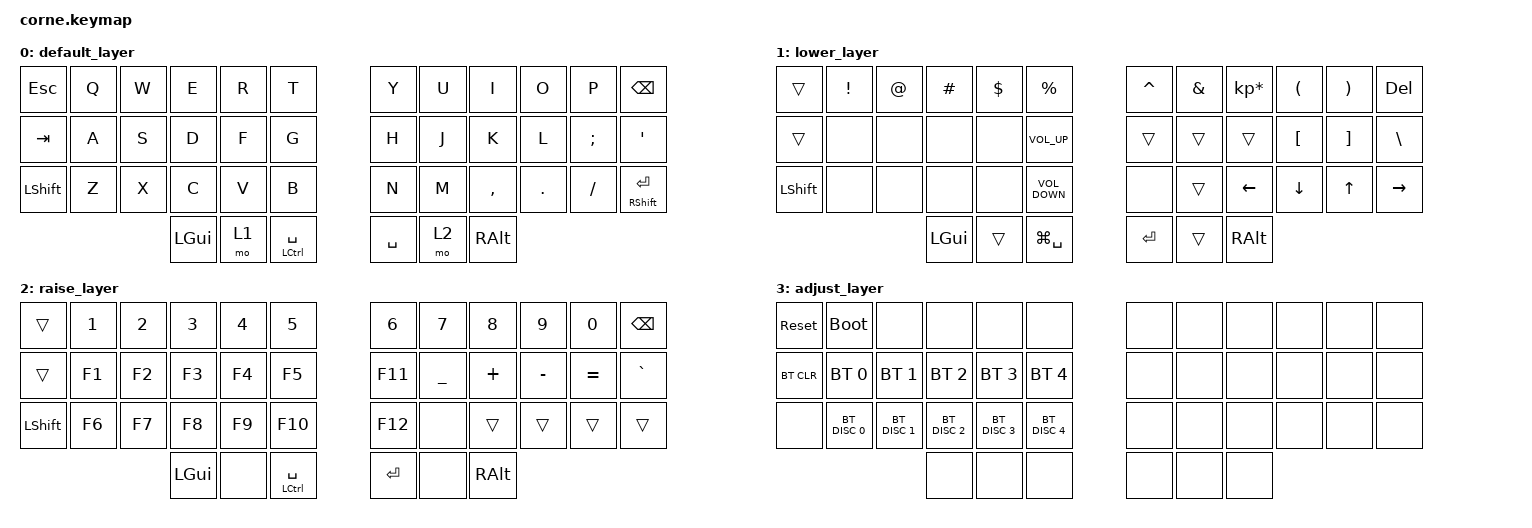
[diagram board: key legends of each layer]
/*
 * Copyright (c) 2020 The ZMK Contributors
 *
 * SPDX-License-Identifier: MIT
 */

#include <behaviors.dtsi>
#include <dt-bindings/zmk/bt.h>
#include <dt-bindings/zmk/keys.h>

&led_strip { chain-length = <27>; };

/ {
    combos {
        compatible = "zmk,combos";

        MACSTOP {
            bindings = <&kp LC(LG(Q))>;
            key-positions = <0 24>;
        };
    };

    keymap {
        compatible = "zmk,keymap";

        default_layer {
            // -----------------------------------------------------------------------------------------
            // |  TAB |  Q  |  W  |  E  |  R  |  T  |   |  Y  |  U   |  I  |  O  |  P  | BKSP |
            // | CTRL |  A  |  S  |  D  |  F  |  G  |   |  H  |  J   |  K  |  L  |  ;  |  '   |
            // | SHFT |  Z  |  X  |  C  |  V  |  B  |   |  N  |  M   |  ,  |  .  |  /  | ESC  |
            //                    | GUI | LWR | SPC |   | ENT | RSE  | ALT |

            bindings = <
&kp ESC    &kp Q  &kp W  &kp E     &kp R  &kp T              &kp Y      &kp U  &kp I          &kp O    &kp P     &kp BSPC
&kp TAB    &kp A  &kp S  &kp D     &kp F  &kp G              &kp H      &kp J  &kp K          &kp L    &kp SEMI  &kp SQT
&kp LSHFT  &kp Z  &kp X  &kp C     &kp V  &kp B              &kp N      &kp M  &kp COMMA      &kp DOT  &kp FSLH  &mt RIGHT_SHIFT ENTER
                         &kp LGUI  &mo 1  &mt LCTRL SPACE    &kp SPACE  &mo 2  &kp RIGHT_ALT
            >;
        };

        lower_layer {
            // -----------------------------------------------------------------------------------------
            // |  TAB |  1  |  2  |  3  |  4  |  5  |   |  6  |  7  |  8  |  9  |  0  | BKSP |
            // | BTCLR| BT1 | BT2 | BT3 | BT4 | BT5 |   | LFT | DWN |  UP | RGT |     |      |
            // | SHFT |     |     |     |     |     |   |     |     |     |     |     |      |
            //                    | GUI |     | SPC |   | ENT |     | ALT |

            bindings = <
&trans     &kp EXCL  &kp AT  &kp HASH  &kp DLLR  &kp PRCNT            &kp CARET  &kp AMPS  &kp KP_MULTIPLY  &kp LPAR          &kp RPAR           &kp DELETE
&trans     &none     &none   &none     &none     &kp C_VOLUME_UP      &trans     &trans    &trans           &kp LEFT_BRACKET  &kp RIGHT_BRACKET  &kp BACKSLASH
&kp LSHFT  &none     &none   &none     &none     &kp C_VOLUME_DOWN    &none      &trans    &kp LEFT         &kp DOWN          &kp UP_ARROW       &kp RIGHT
                             &kp LGUI  &trans    &kp LG(SPACE)        &kp RET    &trans    &kp RALT
            >;
        };

        raise_layer {
            // -----------------------------------------------------------------------------------------
            // |  TAB |  !  |  @  |  #  |  $  |  %  |   |  ^  |  &  |  *  |  (  |  )  | BKSP |
            // | CTRL |     |     |     |     |     |   |  -  |  =  |  [  |  ]  |  \  |  `   |
            // | SHFT |     |     |     |     |     |   |  _  |  +  |  {  |  }  | "|" |  ~   |
            //                    | GUI |     | SPC |   | ENT |     | ALT |

            bindings = <
&trans     &kp N1  &kp N2  &kp N3    &kp N4  &kp N5             &kp N6   &kp N7     &kp N8    &kp N9     &kp N0     &kp BACKSPACE
&trans     &kp F1  &kp F2  &kp F3    &kp F4  &kp F5             &kp F11  &kp UNDER  &kp PLUS  &kp MINUS  &kp EQUAL  &kp GRAVE
&kp LSHFT  &kp F6  &kp F7  &kp F8    &kp F9  &kp F10            &kp F12  &none      &trans    &trans     &trans     &trans
                           &kp LGUI  &none   &mt LCTRL SPACE    &kp RET  &none      &kp RALT
            >;
        };

        adjust_layer {
            bindings = <
&sys_reset  &bootloader    &none          &none          &none          &none            &none  &none  &none  &none  &none  &none
&bt BT_CLR  &bt BT_SEL 0   &bt BT_SEL 1   &bt BT_SEL 2   &bt BT_SEL 3   &bt BT_SEL 4     &none  &none  &none  &none  &none  &none
&none       &bt BT_DISC 0  &bt BT_DISC 1  &bt BT_DISC 2  &bt BT_DISC 3  &bt BT_DISC 4    &none  &none  &none  &none  &none  &none
                                          &none          &none          &none            &none  &none  &none
            >;
        };
    };

    conditional_layers {
        compatible = "zmk,conditional-layers";

        Adjust {
            if-layers = <1 2>;
            then-layer = <3>;
        };
    };
};
